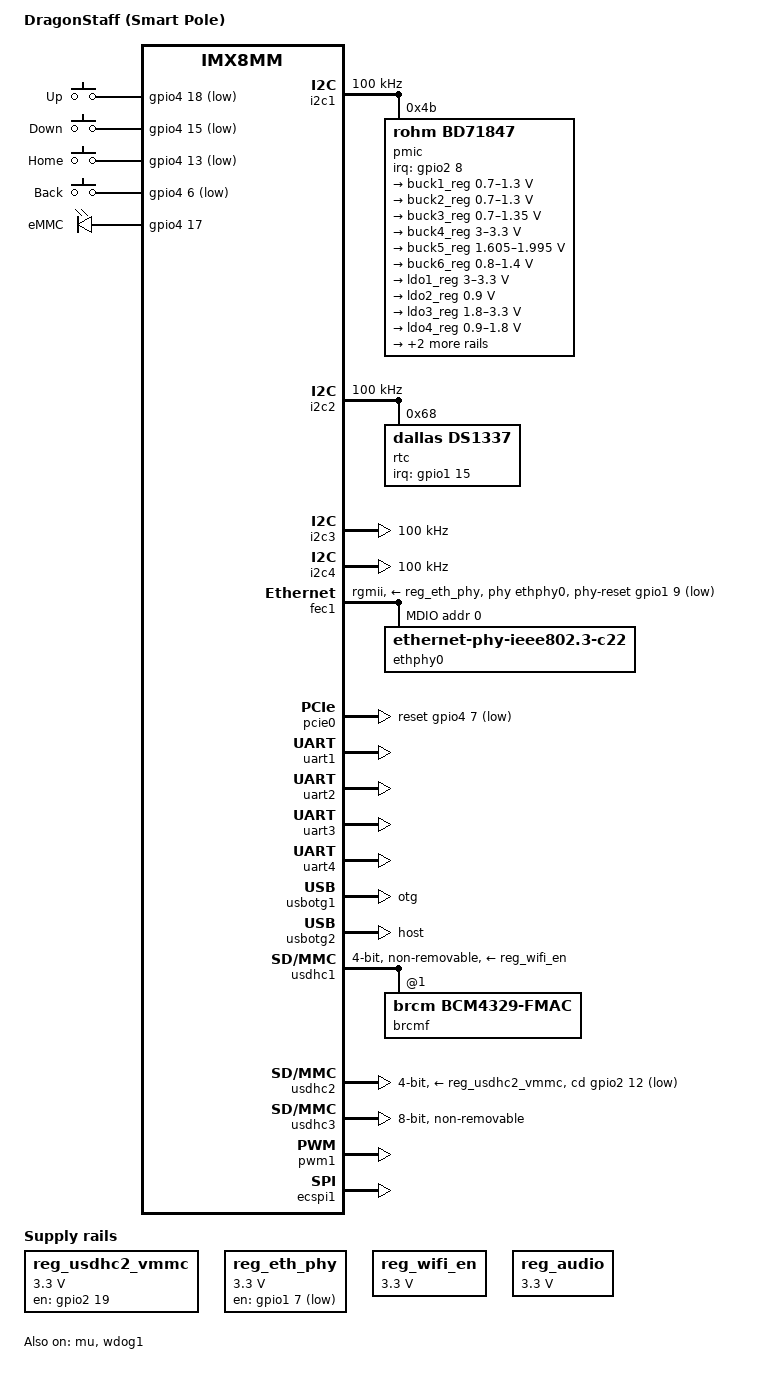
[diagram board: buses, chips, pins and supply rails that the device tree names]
/*
 * Copyright 2018 NXP
 * Copyright 2019 Variscite Ltd.
 * Copyright (C) 2020 Leica Geosystems AG
 *
 * This program is free software; you can redistribute it and/or
 * modify it under the terms of the GNU General Public License
 * as published by the Free Software Foundation; either version 2
 * of the License, or (at your option) any later version.
 *
 * This program is distributed in the hope that it will be useful,
 * but WITHOUT ANY WARRANTY; without even the implied warranty of
 * MERCHANTABILITY or FITNESS FOR A PARTICULAR PURPOSE.  See the
 * GNU General Public License for more details.
 */

/dts-v1/;

#include <dt-bindings/usb/pd.h>
#include "imx8mm.dtsi"

/ {
	model = "DragonStaff (Smart Pole)";
	compatible = "variscite,dart-mx8mm", "fsl,imx8mm";

	chosen {
		bootargs = "console=ttymxc0,115200 earlycon=ec_imx6q,0x30860000,115200";
		stdout-path = &uart1;
	};

	regulators {
		compatible = "simple-bus";
		#address-cells = <1>;
		#size-cells = <0>;

		reg_usdhc2_vmmc: regulator-usdhc2 {
			compatible = "regulator-fixed";
			regulator-name = "VSD_3V3";
			regulator-min-microvolt = <3300000>;
			regulator-max-microvolt = <3300000>;
			gpio = <&gpio2 19 GPIO_ACTIVE_HIGH>;
			off-on-delay = <20000>;
			enable-active-high;
		};

		reg_eth_phy: regulator-eth-phy {
			compatible = "regulator-fixed";
			regulator-name = "eth_phy_pwr";
			regulator-min-microvolt = <3300000>;
			regulator-max-microvolt = <3300000>;
			gpio = <&gpio1 7 GPIO_ACTIVE_HIGH>;
		};

		reg_wifi_en: wifi_en {
			compatible = "regulator-fixed";
			regulator-name = "WIFI_REG_ON";
			regulator-min-microvolt = <3300000>;
			regulator-max-microvolt = <3300000>;
		};

		reg_audio: audio_vdd {
			compatible = "regulator-fixed";
			regulator-name = "wm8904_supply";
			regulator-min-microvolt = <3300000>;
			regulator-max-microvolt = <3300000>;
			regulator-always-on;
		};
	};

	reserved-memory {
		/* cma region is provided by kernel command line as cma=<size>M */
		/delete-node/ linux,cma;

		/delete-node/ rpmsg@b8000000;
		rpmsg_reserved: rpmsg@40000000 {
			no-map;
			reg = <0 0x40000000 0 0x400000>;
		};
	};

	gpio-keys {
		compatible = "gpio-keys";
		pinctrl-names = "default";
		pinctrl-0 = <&pinctrl_gpio_keys>;

		up {
			label = "Up";
			gpios = <&gpio4 18 GPIO_ACTIVE_LOW>;
			linux,code = <KEY_UP>;
		};

		down {
			label = "Down";
			gpios = <&gpio4 15 GPIO_ACTIVE_LOW>;
			linux,code = <KEY_DOWN>;
		};

		home {
			label = "Home";
			gpios = <&gpio4 13 GPIO_ACTIVE_LOW>;
			linux,code = <KEY_HOME>;
		};

		back {
			label = "Back";
			gpios = <&gpio4 6 GPIO_ACTIVE_LOW>;
			linux,code = <KEY_BACK>;
		};
	};

	leds {
		compatible = "gpio-leds";
		pinctrl-names = "default";
		pinctrl-0 = <&pinctrl_leds>;

		emmc {
			label = "eMMC";
			gpios = <&gpio4 17 GPIO_ACTIVE_HIGH>;
			linux,default-trigger = "mmc2";
		};
	};

};

&iomuxc {
	pinctrl-names = "default";

	imx8mm-var-dart {

		pinctrl_csi1: csi1grp {
			fsl,pins = <
				MX8MM_IOMUXC_SAI1_RXD6_GPIO4_IO8		0x19
				MX8MM_IOMUXC_UART4_RXD_GPIO5_IO28		0x19
			>;
		};

		pinctrl_fec1: fec1grp {
			fsl,pins = <
				MX8MM_IOMUXC_ENET_MDC_ENET1_MDC			0x3
				MX8MM_IOMUXC_ENET_MDIO_ENET1_MDIO		0x3
				MX8MM_IOMUXC_ENET_TD3_ENET1_RGMII_TD3		0x1f
				MX8MM_IOMUXC_ENET_TD2_ENET1_RGMII_TD2		0x1f
				MX8MM_IOMUXC_ENET_TD1_ENET1_RGMII_TD1		0x1f
				MX8MM_IOMUXC_ENET_TD0_ENET1_RGMII_TD0		0x1f
				MX8MM_IOMUXC_ENET_RD3_ENET1_RGMII_RD3		0x91
				MX8MM_IOMUXC_ENET_RD2_ENET1_RGMII_RD2		0x91
				MX8MM_IOMUXC_ENET_RD1_ENET1_RGMII_RD1		0x91
				MX8MM_IOMUXC_ENET_RD0_ENET1_RGMII_RD0		0x91
				MX8MM_IOMUXC_ENET_TXC_ENET1_RGMII_TXC		0x1f
				MX8MM_IOMUXC_ENET_RXC_ENET1_RGMII_RXC		0x91
				MX8MM_IOMUXC_ENET_RX_CTL_ENET1_RGMII_RX_CTL	0x91
				MX8MM_IOMUXC_ENET_TX_CTL_ENET1_RGMII_TX_CTL	0x1f
				MX8MM_IOMUXC_GPIO1_IO09_GPIO1_IO9		0x19
				MX8MM_IOMUXC_GPIO1_IO07_GPIO1_IO7		0x41
			>;
		};

		pinctrl_flexspi0: flexspi0grp {
			fsl,pins = <
				MX8MM_IOMUXC_NAND_ALE_QSPI_A_SCLK		0x1c2
				MX8MM_IOMUXC_NAND_CE0_B_QSPI_A_SS0_B		0x82
				MX8MM_IOMUXC_NAND_DATA00_QSPI_A_DATA0		0x82
				MX8MM_IOMUXC_NAND_DATA01_QSPI_A_DATA1		0x82
				MX8MM_IOMUXC_NAND_DATA02_QSPI_A_DATA2		0x82
				MX8MM_IOMUXC_NAND_DATA03_QSPI_A_DATA3		0x82
			>;
		};

		pinctrl_i2c1: i2c1grp {
			fsl,pins = <
				MX8MM_IOMUXC_I2C1_SCL_I2C1_SCL			0x400001c3
				MX8MM_IOMUXC_I2C1_SDA_I2C1_SDA			0x400001c3
			>;
		};

		pinctrl_i2c2: i2c2grp {
			fsl,pins = <
				MX8MM_IOMUXC_I2C2_SCL_I2C2_SCL			0x400001c3
				MX8MM_IOMUXC_I2C2_SDA_I2C2_SDA			0x400001c3
			>;
		};

		pinctrl_i2c3: i2c3grp {
			fsl,pins = <
				MX8MM_IOMUXC_I2C3_SCL_I2C3_SCL			0x400001c3
				MX8MM_IOMUXC_I2C3_SDA_I2C3_SDA			0x400001c3
			>;
		};

		pinctrl_i2c4: i2c4grp {
			fsl,pins = <
				MX8MM_IOMUXC_I2C4_SCL_I2C4_SCL			0x400001c3
				MX8MM_IOMUXC_I2C4_SDA_I2C4_SDA			0x400001c3
			>;
		};

		pinctrl_pcie0: pcie0grp {
			fsl,pins = <
				MX8MM_IOMUXC_SAI1_RXD5_GPIO4_IO7		0x41
			>;
		};

		pinctrl_pmic: pmicirq {
			fsl,pins = <
				MX8MM_IOMUXC_SD1_DATA6_GPIO2_IO8		0x41
			>;
		};

		pinctrl_sai3: sai3grp {
			fsl,pins = <
				MX8MM_IOMUXC_SAI3_RXFS_SAI3_RX_SYNC		0xd6
				MX8MM_IOMUXC_SAI3_RXC_SAI3_RX_BCLK		0xd6
				MX8MM_IOMUXC_SAI3_RXD_SAI3_RX_DATA0		0xd6
				MX8MM_IOMUXC_SAI3_TXFS_SAI3_TX_SYNC		0xd6
				MX8MM_IOMUXC_SAI3_TXC_SAI3_TX_BCLK		0xd6
				MX8MM_IOMUXC_SAI3_TXD_SAI3_TX_DATA0		0xd6
				MX8MM_IOMUXC_SAI3_MCLK_SAI3_MCLK		0xd6
			>;
		};

		pinctrl_pdm: pdmgrp {
			fsl,pins = <
				MX8MM_IOMUXC_SAI5_MCLK_SAI5_MCLK		0xd6
				MX8MM_IOMUXC_SAI5_RXC_PDM_CLK			0xd6
				MX8MM_IOMUXC_SAI5_RXFS_SAI5_RX_SYNC		0xd6
				MX8MM_IOMUXC_SAI5_RXD0_PDM_DATA0		0xd6
				MX8MM_IOMUXC_SAI5_RXD1_PDM_DATA1		0xd6
				MX8MM_IOMUXC_SAI5_RXD2_PDM_DATA2		0xd6
				MX8MM_IOMUXC_SAI5_RXD3_PDM_DATA3		0xd6
			>;
		};

		pinctrl_spdif1: spdif1grp {
			fsl,pins = <
				MX8MM_IOMUXC_SPDIF_TX_SPDIF1_OUT		0xd6
				MX8MM_IOMUXC_SPDIF_RX_SPDIF1_IN			0xd6
			>;
		};

		pinctrl_uart1: uart1grp {
			fsl,pins = <
				MX8MM_IOMUXC_UART1_RXD_UART1_DCE_RX		0x140
				MX8MM_IOMUXC_UART1_TXD_UART1_DCE_TX		0x140
			>;
		};

		pinctrl_uart2: uart2grp {
			fsl,pins = <
				MX8MM_IOMUXC_UART2_RXD_UART2_DCE_RX		0x140
				MX8MM_IOMUXC_UART2_TXD_UART2_DCE_TX		0x140
			>;
		};

		pinctrl_uart3: uart3grp {
			fsl,pins = <
				MX8MM_IOMUXC_UART3_RXD_UART3_DCE_RX		0x140
				MX8MM_IOMUXC_UART3_TXD_UART3_DCE_TX		0x140
			>;
		};

		pinctrl_uart4: uart4grp {
			fsl,pins = <
				MX8MM_IOMUXC_ECSPI2_SCLK_UART4_DCE_RX		0x140
				MX8MM_IOMUXC_ECSPI2_MOSI_UART4_DCE_TX		0x140
				MX8MM_IOMUXC_ECSPI2_SS0_UART4_DCE_RTS_B		0x140
				MX8MM_IOMUXC_ECSPI2_MISO_UART4_DCE_CTS_B	0x140
			>;
		};

		pinctrl_usdhc1: usdhc1grp {
			fsl,pins = <
				MX8MM_IOMUXC_SD1_CLK_USDHC1_CLK			0x190
				MX8MM_IOMUXC_SD1_CMD_USDHC1_CMD			0x1d0
				MX8MM_IOMUXC_SD1_DATA0_USDHC1_DATA0		0x1d0
				MX8MM_IOMUXC_SD1_DATA1_USDHC1_DATA1		0x1d0
				MX8MM_IOMUXC_SD1_DATA2_USDHC1_DATA2		0x1d0
				MX8MM_IOMUXC_SD1_DATA3_USDHC1_DATA3		0x1d0
			>;
		};

		pinctrl_usdhc1_100mhz: usdhc1grp100mhz {
			fsl,pins = <
				MX8MM_IOMUXC_SD1_CLK_USDHC1_CLK			0x194
				MX8MM_IOMUXC_SD1_CMD_USDHC1_CMD			0x1d4
				MX8MM_IOMUXC_SD1_DATA0_USDHC1_DATA0		0x1d4
				MX8MM_IOMUXC_SD1_DATA1_USDHC1_DATA1		0x1d4
				MX8MM_IOMUXC_SD1_DATA2_USDHC1_DATA2		0x1d4
				MX8MM_IOMUXC_SD1_DATA3_USDHC1_DATA3		0x1d4
			>;
		};

		pinctrl_usdhc1_200mhz: usdhc1grp200mhz {
			fsl,pins = <
				MX8MM_IOMUXC_SD1_CLK_USDHC1_CLK			0x196
				MX8MM_IOMUXC_SD1_CMD_USDHC1_CMD			0x1d6
				MX8MM_IOMUXC_SD1_DATA0_USDHC1_DATA0		0x1d6
				MX8MM_IOMUXC_SD1_DATA1_USDHC1_DATA1		0x1d6
				MX8MM_IOMUXC_SD1_DATA2_USDHC1_DATA2		0x1d6
				MX8MM_IOMUXC_SD1_DATA3_USDHC1_DATA3		0x1d6
			>;
		};

		pinctrl_usdhc2_gpio: usdhc2grpgpio {
			fsl,pins = <
				MX8MM_IOMUXC_SD2_RESET_B_GPIO2_IO19		0xc1
				MX8MM_IOMUXC_SD2_CD_B_GPIO2_IO12		0xc1
			>;
		};

		pinctrl_usdhc2: usdhc2grp {
			fsl,pins = <
				MX8MM_IOMUXC_SD2_CLK_USDHC2_CLK			0x190
				MX8MM_IOMUXC_SD2_CMD_USDHC2_CMD			0x1d0
				MX8MM_IOMUXC_SD2_DATA0_USDHC2_DATA0		0x1d0
				MX8MM_IOMUXC_SD2_DATA1_USDHC2_DATA1		0x1d0
				MX8MM_IOMUXC_SD2_DATA2_USDHC2_DATA2		0x1d0
				MX8MM_IOMUXC_SD2_DATA3_USDHC2_DATA3		0x1d0
				MX8MM_IOMUXC_GPIO1_IO04_USDHC2_VSELECT		0x1d0
			>;
		};

		pinctrl_usdhc2_100mhz: usdhc2grp100mhz {
			fsl,pins = <
				MX8MM_IOMUXC_SD2_CLK_USDHC2_CLK			0x194
				MX8MM_IOMUXC_SD2_CMD_USDHC2_CMD			0x1d4
				MX8MM_IOMUXC_SD2_DATA0_USDHC2_DATA0		0x1d4
				MX8MM_IOMUXC_SD2_DATA1_USDHC2_DATA1		0x1d4
				MX8MM_IOMUXC_SD2_DATA2_USDHC2_DATA2		0x1d4
				MX8MM_IOMUXC_SD2_DATA3_USDHC2_DATA3		0x1d4
				MX8MM_IOMUXC_GPIO1_IO04_USDHC2_VSELECT		0x1d0
			>;
		};

		pinctrl_usdhc2_200mhz: usdhc2grp200mhz {
			fsl,pins = <
				MX8MM_IOMUXC_SD2_CLK_USDHC2_CLK			0x196
				MX8MM_IOMUXC_SD2_CMD_USDHC2_CMD			0x1d6
				MX8MM_IOMUXC_SD2_DATA0_USDHC2_DATA0		0x1d6
				MX8MM_IOMUXC_SD2_DATA1_USDHC2_DATA1		0x1d6
				MX8MM_IOMUXC_SD2_DATA2_USDHC2_DATA2		0x1d6
				MX8MM_IOMUXC_SD2_DATA3_USDHC2_DATA3		0x1d6
				MX8MM_IOMUXC_GPIO1_IO04_USDHC2_VSELECT		0x1d0
			>;
		};

		pinctrl_usdhc3: usdhc3grp {
			fsl,pins = <
				MX8MM_IOMUXC_NAND_WE_B_USDHC3_CLK		0x190
				MX8MM_IOMUXC_NAND_WP_B_USDHC3_CMD		0x1d0
				MX8MM_IOMUXC_NAND_DATA04_USDHC3_DATA0		0x1d0
				MX8MM_IOMUXC_NAND_DATA05_USDHC3_DATA1		0x1d0
				MX8MM_IOMUXC_NAND_DATA06_USDHC3_DATA2		0x1d0
				MX8MM_IOMUXC_NAND_DATA07_USDHC3_DATA3		0x1d0
				MX8MM_IOMUXC_NAND_RE_B_USDHC3_DATA4		0x1d0
				MX8MM_IOMUXC_NAND_CE2_B_USDHC3_DATA5		0x1d0
				MX8MM_IOMUXC_NAND_CE3_B_USDHC3_DATA6		0x1d0
				MX8MM_IOMUXC_NAND_CLE_USDHC3_DATA7		0x1d0
				MX8MM_IOMUXC_NAND_CE1_B_USDHC3_STROBE 		0x190
			>;
		};

		pinctrl_usdhc3_100mhz: usdhc3grp100mhz {
			fsl,pins = <
				MX8MM_IOMUXC_NAND_WE_B_USDHC3_CLK		0x194
				MX8MM_IOMUXC_NAND_WP_B_USDHC3_CMD		0x1d4
				MX8MM_IOMUXC_NAND_DATA04_USDHC3_DATA0		0x1d4
				MX8MM_IOMUXC_NAND_DATA05_USDHC3_DATA1		0x1d4
				MX8MM_IOMUXC_NAND_DATA06_USDHC3_DATA2		0x1d4
				MX8MM_IOMUXC_NAND_DATA07_USDHC3_DATA3		0x1d4
				MX8MM_IOMUXC_NAND_RE_B_USDHC3_DATA4		0x1d4
				MX8MM_IOMUXC_NAND_CE2_B_USDHC3_DATA5		0x1d4
				MX8MM_IOMUXC_NAND_CE3_B_USDHC3_DATA6		0x1d4
				MX8MM_IOMUXC_NAND_CLE_USDHC3_DATA7		0x1d4
				MX8MM_IOMUXC_NAND_CE1_B_USDHC3_STROBE 		0x194
			>;
		};

		pinctrl_usdhc3_200mhz: usdhc3grp200mhz {
			fsl,pins = <
				MX8MM_IOMUXC_NAND_WE_B_USDHC3_CLK		0x196
				MX8MM_IOMUXC_NAND_WP_B_USDHC3_CMD		0x1d6
				MX8MM_IOMUXC_NAND_DATA04_USDHC3_DATA0		0x1d6
				MX8MM_IOMUXC_NAND_DATA05_USDHC3_DATA1		0x1d6
				MX8MM_IOMUXC_NAND_DATA06_USDHC3_DATA2		0x1d6
				MX8MM_IOMUXC_NAND_DATA07_USDHC3_DATA3		0x1d6
				MX8MM_IOMUXC_NAND_RE_B_USDHC3_DATA4		0x1d6
				MX8MM_IOMUXC_NAND_CE2_B_USDHC3_DATA5		0x1d6
				MX8MM_IOMUXC_NAND_CE3_B_USDHC3_DATA6		0x1d6
				MX8MM_IOMUXC_NAND_CLE_USDHC3_DATA7		0x1d6
				MX8MM_IOMUXC_NAND_CE1_B_USDHC3_STROBE 		0x196
			>;
		};

		pinctrl_wdog: wdoggrp {
			fsl,pins = <
				MX8MM_IOMUXC_GPIO1_IO02_WDOG1_WDOG_B		0xc6
			>;
		};

		pinctrl_wifi: wifigrp {
			fsl,pins = <
				MX8MM_IOMUXC_SD1_DATA5_GPIO2_IO7		0xc1	/* WIFI_3V3_PWR_EN */
				MX8MM_IOMUXC_SD2_WP_GPIO2_IO20			0x140	/* WIFI_1V8_PWR_EN */
				MX8MM_IOMUXC_SD1_RESET_B_GPIO2_IO10		0xc1	/* WIFI_REG_ON     */
				MX8MM_IOMUXC_SD1_DATA4_GPIO2_IO6		0xc1	/* BT_REG_ON       */
				MX8MM_IOMUXC_SPDIF_EXT_CLK_GPIO5_IO5		0xc1	/* BT_BUF_EN       */
			>;
		};

		pinctrl_typec: typecgrp {
			fsl,pins = <
				MX8MM_IOMUXC_GPIO1_IO10_GPIO1_IO10		0x16
			>;
		};

		pinctrl_rtc: rtcgrp {
			fsl,pins = <
				MX8MM_IOMUXC_GPIO1_IO15_GPIO1_IO15		0x1c1
			>;
		};

		pinctrl_pwm1: pwm1grp {
			fsl,pins = <
				MX8MM_IOMUXC_GPIO1_IO01_PWM1_OUT		0x06
			>;
		};

		pinctrl_ecspi1: ecspi1grp {
			fsl,pins = <
				MX8MM_IOMUXC_ECSPI1_SCLK_ECSPI1_SCLK		0x13
				MX8MM_IOMUXC_ECSPI1_MOSI_ECSPI1_MOSI		0x13
				MX8MM_IOMUXC_ECSPI1_MISO_ECSPI1_MISO		0x13
				MX8MM_IOMUXC_ECSPI1_SS0_GPIO5_IO9		0x13
				MX8MM_IOMUXC_GPIO1_IO12_GPIO1_IO12		0x13
			>;
		};

		pinctrl_gpio_keys: keygrp {
			fsl,pins = <
				MX8MM_IOMUXC_SAI1_TXD3_GPIO4_IO15		0x1c6
				MX8MM_IOMUXC_SAI1_TXD6_GPIO4_IO18		0x1c6
				MX8MM_IOMUXC_SAI1_TXD1_GPIO4_IO13		0x1c6
				MX8MM_IOMUXC_SAI1_RXD4_GPIO4_IO6		0x1c6
			>;
		};

		pinctrl_leds: ledgrp {
			fsl,pins = <
				MX8MM_IOMUXC_SAI1_RXD1_GPIO4_IO3		0x1c6
				MX8MM_IOMUXC_SAI1_TXD2_GPIO4_IO14		0x1c6
				MX8MM_IOMUXC_SAI1_RXD2_GPIO4_IO4		0x1c6
				MX8MM_IOMUXC_SAI1_TXD5_GPIO4_IO17		0x1c6
			>;
		};
	};
};

&i2c1 {
	clock-frequency = <100000>;
	pinctrl-names = "default";
	pinctrl-0 = <&pinctrl_i2c1>;
	status = "okay";

	pmic@4b {
		reg = <0x4b>;
		compatible = "rohm,bd71847";
		pinctrl-0 = <&pinctrl_pmic>;
		interrupt-parent = <&gpio2>;
		interrupts = <8 GPIO_ACTIVE_LOW>;
		rohm,reset-snvs-powered;

		regulators {
			#address-cells = <1>;
			#size-cells = <0>;

			buck1_reg: regulator@0 {
				reg = <0>;
				regulator-compatible = "BUCK1";
				regulator-min-microvolt = <700000>;
				regulator-max-microvolt = <1300000>;
				regulator-boot-on;
				regulator-always-on;
				regulator-ramp-delay = <1250>;
			};

			buck2_reg: regulator@1 {
				reg = <1>;
				regulator-compatible = "BUCK2";
				regulator-min-microvolt = <700000>;
				regulator-max-microvolt = <1300000>;
				regulator-boot-on;
				regulator-always-on;
				regulator-ramp-delay = <1250>;
				rohm,dvs-run-voltage = <1000000>;
				rohm,dvs-idle-voltage = <900000>;
			};

			buck3_reg: regulator@2 {
				// BUCK5 in datasheet
				reg = <2>;
				regulator-compatible = "BUCK3";
				regulator-min-microvolt = <700000>;
				regulator-max-microvolt = <1350000>;
				regulator-boot-on;
				regulator-always-on;
			};

			buck4_reg: regulator@3 {
				// BUCK6 in datasheet
				reg = <3>;
				regulator-compatible = "BUCK4";
				regulator-min-microvolt = <3000000>;
				regulator-max-microvolt = <3300000>;
				regulator-boot-on;
				regulator-always-on;
			};

			buck5_reg: regulator@4 {
				// BUCK7 in datasheet
				reg = <4>;
				regulator-compatible = "BUCK5";
				regulator-min-microvolt = <1605000>;
				regulator-max-microvolt = <1995000>;
				regulator-boot-on;
				regulator-always-on;
			};

			buck6_reg: regulator@5 {
				// BUCK8 in datasheet
				reg = <5>;
				regulator-compatible = "BUCK6";
				regulator-min-microvolt = <800000>;
				regulator-max-microvolt = <1400000>;
				regulator-boot-on;
				regulator-always-on;
			};

			ldo1_reg: regulator@6 {
				reg = <6>;
				regulator-compatible = "LDO1";
				regulator-min-microvolt = <3000000>;
				regulator-max-microvolt = <3300000>;
				regulator-boot-on;
				regulator-always-on;
			};

			ldo2_reg: regulator@7 {
				reg = <7>;
				regulator-compatible = "LDO2";
				regulator-min-microvolt = <900000>;
				regulator-max-microvolt = <900000>;
				regulator-boot-on;
				regulator-always-on;
			};

			ldo3_reg: regulator@8 {
				reg = <8>;
				regulator-compatible = "LDO3";
				regulator-min-microvolt = <1800000>;
				regulator-max-microvolt = <3300000>;
				regulator-boot-on;
				regulator-always-on;
			};

			ldo4_reg: regulator@9 {
				reg = <9>;
				regulator-compatible = "LDO4";
				regulator-min-microvolt = <900000>;
				regulator-max-microvolt = <1800000>;
				regulator-boot-on;
				regulator-always-on;
			};

			ldo5_reg: regulator@12 {
				reg = <12>;
				regulator-compatible = "LDO5";
				regulator-min-microvolt = <1800000>;
				regulator-max-microvolt = <1800000>;
				regulator-always-on;
			};

			ldo6_reg: regulator@11 {
				reg = <11>;
				regulator-compatible = "LDO6";
				regulator-min-microvolt = <900000>;
				regulator-max-microvolt = <1800000>;
				regulator-boot-on;
				regulator-always-on;
			};
		};
	};
};

&i2c2 {
	clock-frequency = <100000>;
	pinctrl-names = "default";
	pinctrl-0 = <&pinctrl_i2c2>;
	status = "okay";

	/* DS1337 RTC module */
	rtc@68 {
		status = "okay";
		compatible = "dallas,ds1337";
		reg = <0x68>;
		pinctrl-names = "default";
		pinctrl-0 = <&pinctrl_rtc>;
		interrupt-parent = <&gpio1>;
		interrupts = <15 IRQ_TYPE_EDGE_FALLING>;
	};
};

&i2c3 {
	clock-frequency = <100000>;
	pinctrl-names = "default";
	pinctrl-0 = <&pinctrl_i2c3>;
	status = "okay";
};

&i2c4 {
	clock-frequency = <100000>;
	pinctrl-names = "default";
	pinctrl-0 = <&pinctrl_i2c4>;
	status = "okay";
};

&mu {
	status = "okay";
};

&fec1 {
	pinctrl-names = "default";
	pinctrl-0 = <&pinctrl_fec1>;
	phy-mode = "rgmii";
	phy-handle = <&ethphy0>;
	phy-supply = <&reg_eth_phy>;
	phy-reset-gpios = <&gpio1 9 GPIO_ACTIVE_LOW>;
	phy-reset-duration = <10>;
	fsl,magic-packet;
	status = "okay";

	mdio {
		#address-cells = <1>;
		#size-cells = <0>;

		ethphy0: ethernet-phy@0 {
			compatible = "ethernet-phy-ieee802.3-c22";
			reg = <0>;
			at803x,led-act-blind-workaround;
			at803x,eee-okay;
			at803x,vddio-1p8v;
		};
	};
};

&pcie0 {
	pinctrl-names = "default";
	pinctrl-0 = <&pinctrl_pcie0>;
	reset-gpio = <&gpio4 7 GPIO_ACTIVE_LOW>;
	ext_osc = <1>;
	status = "okay";
};

/* Console */
&uart1 {
	pinctrl-names = "default";
	pinctrl-0 = <&pinctrl_uart1>;
	status = "okay";
};

/* Header */
&uart2 {
	pinctrl-names = "default";
	pinctrl-0 = <&pinctrl_uart2>;
	status = "okay";
};

/* Header */
&uart3 {
	pinctrl-names = "default";
	pinctrl-0 = <&pinctrl_uart3>;
	status = "okay";
};

/* BT */
&uart4 {
	pinctrl-names = "default";
	pinctrl-0 = <&pinctrl_uart4>;
	assigned-clocks = <&clk IMX8MM_CLK_UART4>;
	assigned-clock-parents = <&clk IMX8MM_SYS_PLL1_80M>;
	uart-has-rtscts;
	status = "okay";
};

&usbotg1 {
	dr_mode = "otg";
	picophy,pre-emp-curr-control = <3>;
	picophy,dc-vol-level-adjust = <7>;
	status = "okay";
};

&usbotg2 {
	dr_mode = "host";
	picophy,pre-emp-curr-control = <3>;
	picophy,dc-vol-level-adjust = <7>;
	status = "okay";
};

/* WIFI */
&usdhc1 {
	#address-cells = <1>;
	#size-cells = <0>;
	pinctrl-names = "default", "state_100mhz", "state_200mhz";
	pinctrl-0 = <&pinctrl_usdhc1>;
	pinctrl-1 = <&pinctrl_usdhc1_100mhz>;
	pinctrl-2 = <&pinctrl_usdhc1_200mhz>;
	bus-width = <4>;
	vmmc-supply = <&reg_wifi_en>;
	non-removable;
	keep-power-in-suspend;
	status = "okay";

	brcmf: bcrmf@1 {
		reg = <1>;
		compatible = "brcm,bcm4329-fmac";
	};
};

/* SD */
&usdhc2 {
	pinctrl-names = "default", "state_100mhz", "state_200mhz";
	pinctrl-0 = <&pinctrl_usdhc2>, <&pinctrl_usdhc2_gpio>;
	pinctrl-1 = <&pinctrl_usdhc2_100mhz>, <&pinctrl_usdhc2_gpio>;
	pinctrl-2 = <&pinctrl_usdhc2_200mhz>, <&pinctrl_usdhc2_gpio>;
	cd-gpios = <&gpio2 12 GPIO_ACTIVE_LOW>;
	bus-width = <4>;
	vmmc-supply = <&reg_usdhc2_vmmc>;
	status = "okay";
};

/* EMMC */
&usdhc3 {
	pinctrl-names = "default", "state_100mhz", "state_200mhz";
	pinctrl-0 = <&pinctrl_usdhc3>;
	pinctrl-1 = <&pinctrl_usdhc3_100mhz>;
	pinctrl-2 = <&pinctrl_usdhc3_200mhz>;
	bus-width = <8>;
	non-removable;
	status = "okay";
};

&wdog1 {
	pinctrl-names = "default";
	pinctrl-0 = <&pinctrl_wdog>;
	fsl,ext-reset-output;
	status = "okay";
};

&A53_0 {
	arm-supply = <&buck2_reg>;
};

&pwm1 {
	status = "okay";
	pinctrl-names = "default";
	pinctrl-0 = <&pinctrl_pwm1>;
};

&ecspi1 {
	pinctrl-names = "default";
	pinctrl-0 = <&pinctrl_ecspi1>;
	cs-gpios = <&gpio5  9 GPIO_ACTIVE_HIGH>,
		   <&gpio1 12 GPIO_ACTIVE_HIGH>;
	fsl,spi-num-chipselects = <2>;
	/delete-property/ dmas;
	/delete-property/ dma-names;
	status = "okay";
};

&flexspi {
	pinctrl-names = "default";
	pinctrl-0 = <&pinctrl_flexspi0>;
	status = "disabled";
};

&snvs_rtc {
	status = "disabled";
};
